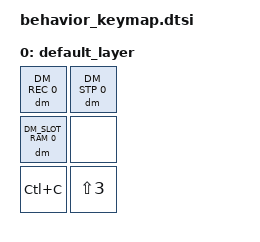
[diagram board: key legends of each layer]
/*
 * Keymap for the render-parity golden capture (redesign §5.2, Option A).
 *
 * Records token-producing keys (Ctrl+C, Shift+3) into a slot and saves it at
 * VERBOSE feedback + US locale, so the OLD walk types the preview as keystrokes.
 * The captured keycode_events.snapshot is the live old-walk output; decode it
 * once into tests/parity/render/golden_us.h and assert dm_render matches.
 *
 * Positions (row,col):
 *   (0,0) REC   (0,1) STP
 *   (1,0) SLOT_RAM 0
 *   (2,0) Ctrl+C   (2,1) Shift+3
 */

#include <dt-bindings/zmk/keys.h>
#include <behaviors.dtsi>
#include <dt-bindings/zmk/kscan_mock.h>
#include <behaviors/dynamic_macro.dtsi>
#include <dt-bindings/zmk/dynamic_macros.h>

&kscan {
    rows = <3>;
    columns = <2>;
    exit-after;
};

/ {
    keymap {
        compatible = "zmk,keymap";
        default_layer {
            bindings = <
                &dm DM_REC 0        &dm DM_STP 0
                &dm DM_SLOT_RAM 0   &none
                &kp LC(C)           &kp LS(N3)
            >;
        };
    };
};
